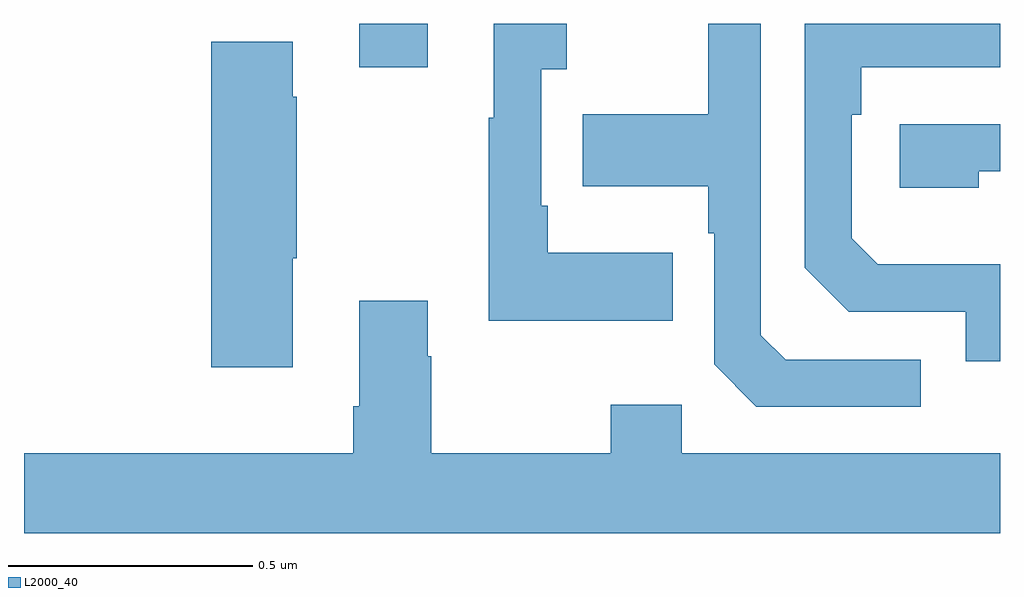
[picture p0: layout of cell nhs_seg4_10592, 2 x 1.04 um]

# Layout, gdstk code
import gdstk
lib = gdstk.Library(unit=1e-6, precision=1e-09)
def R(c, l, rs):  # rectangles x0, y0, x1, y1
    for r in rs: c.add(gdstk.rectangle(r[:2], r[2:], *l))
def P(c, l, *ps):  # polygons
    for p in ps: c.add(gdstk.Polygon(p, *l))
L2000_40 = (2000, 40)

nhs_seg4_10592 = lib.new_cell('nhs_seg4_10592')
R(nhs_seg4_10592, L2000_40, [(242.687,761.811,242.827,761.9)])
P(nhs_seg4_10592, L2000_40, [(243.329,761.431),(243.073,761.431),(243.073,761.527),(243.06,761.527),(243.06,761.807),(243.112,761.807),(243.112,761.9),(242.963,761.9),(242.963,761.707),(242.952,761.707),(242.952,761.291),(243.329,761.291)],
  [(244,761.407),(243.749,761.407),(243.696,761.46),(243.696,761.714),(243.716,761.714),(243.716,761.811),(244,761.811),(244,761.9),(243.6,761.9),(243.6,761.4),(243.69,761.31),(243.93,761.31),(243.93,761.208),(244,761.208)],
  [(243.838,761.211),(243.561,761.211),(243.51,761.262),(243.51,761.9),(243.402,761.9),(243.402,761.715),(243.145,761.715),(243.145,761.567),(243.402,761.567),(243.402,761.471),(243.414,761.471),(243.414,761.202),(243.501,761.115),(243.838,761.115)],
  [(242.551,761.419),(242.559,761.419),(242.559,761.75),(242.551,761.75),(242.551,761.863),(242.384,761.863),(242.384,761.196),(242.551,761.196)],
  [(243.956,761.598),(244,761.598),(244,761.694),(243.795,761.694),(243.795,761.564),(243.956,761.564)],
  [(244,761.02),(243.348,761.02),(243.348,761.119),(243.202,761.119),(243.202,761.02),(242.835,761.02),(242.835,761.219),(242.827,761.219),(242.827,761.332),(242.687,761.332),(242.687,761.116),(242.675,761.116),(242.675,761.02),(242,761.02),(242,760.856),(244,760.856)])

lib.write_gds('nhs_seg4_10592.gds')
